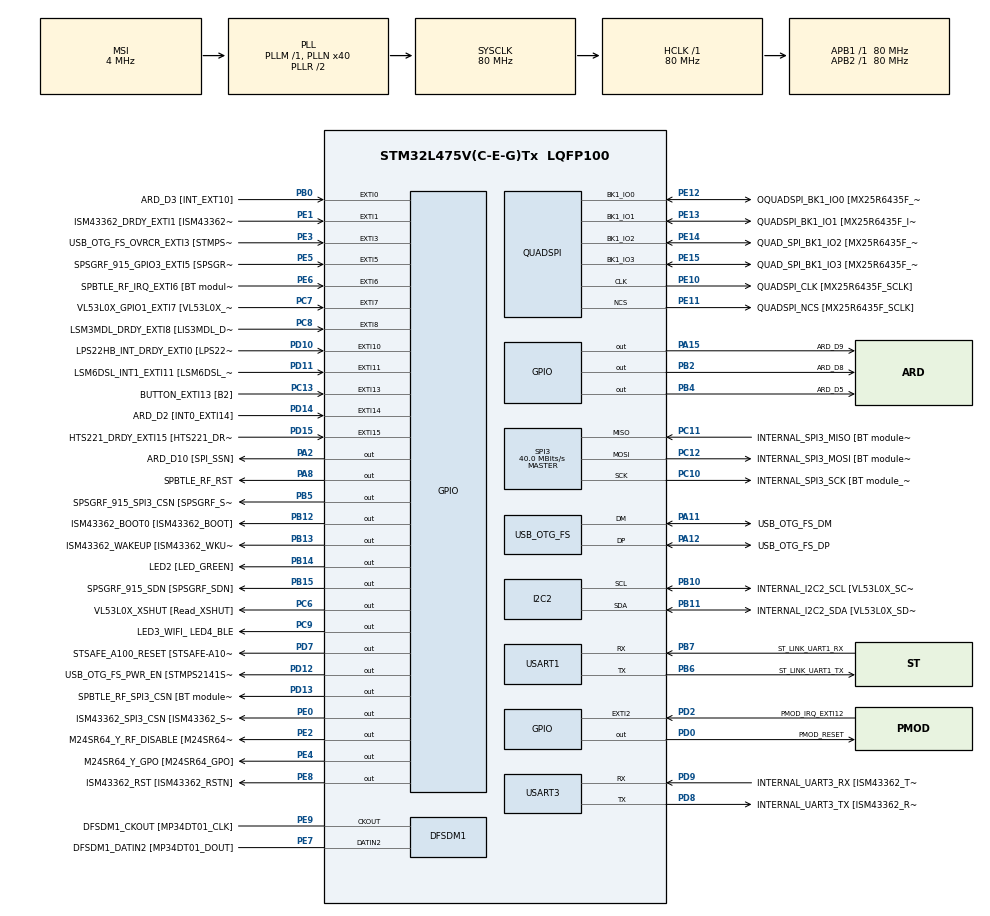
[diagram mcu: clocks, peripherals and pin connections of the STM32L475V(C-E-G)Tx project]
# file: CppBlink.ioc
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I2C2.Timing=0x10909CEC
Mcu.Family=STM32L4
Mcu.Name=STM32L475V(C-E-G)Tx
Mcu.Package=LQFP100
NVIC.EXTI15_10_IRQn=true\:0\:0\:false\:false\:true\:true\:true
NVIC.EXTI9_5_IRQn=true\:0\:0\:false\:false\:true\:true\:true
NVIC.PriorityGroup=NVIC_PRIORITYGROUP_4
NVIC.TIM2_IRQn=true\:0\:0\:false\:false\:true\:true\:true
PA0.GPIO_Label=ARD_D1 [UART4_TX]
PA0.Signal=UART4_TX
PA1.GPIO_Label=ARD_D0 [UART4_RX]
PA1.Signal=UART4_RX
PA10.GPIO_Label=USB_OTG_FS_ID
PA10.Signal=USB_OTG_FS_ID
PA11.GPIO_Label=USB_OTG_FS_DM
PA11.Mode=Device_Only
PA11.Signal=USB_OTG_FS_DM
PA12.GPIO_Label=USB_OTG_FS_DP
PA12.Mode=Device_Only
PA12.Signal=USB_OTG_FS_DP
PA13\ (JTMS-SWDIO).GPIO_Label=SYS_JTMS_SWDIO
PA13\ (JTMS-SWDIO).Mode=Serial_Wire
PA13\ (JTMS-SWDIO).Signal=SYS_JTMS-SWDIO
PA14\ (JTCK-SWCLK).GPIO_Label=SYS_JTCK_SWCLK
PA14\ (JTCK-SWCLK).Mode=Serial_Wire
PA14\ (JTCK-SWCLK).Signal=SYS_JTCK-SWCLK
PA15\ (JTDI).GPIO_Label=ARD_D9
PA15\ (JTDI).Signal=GPIO_Output
PA2.GPIO_Label=ARD_D10 [SPI_SSN]
PA2.Signal=GPIO_Output
PA3.GPIO_Label=ARD_D4
PA3.Signal=S_TIM2_CH4
PA4.GPIO_Label=ARD_D7
PA4.Signal=ADCx_IN9
PA5.GPIO_Label=ARD_D13 [SPI1_SCK]
PA5.Signal=SPI1_SCK
PA6.GPIO_Label=ARD_D12 [SPI1_MISO]
PA6.Signal=SPI1_MISO
PA7.GPIO_Label=ARD_D11 [SPI1_MOSI]
PA7.Signal=SPI1_MOSI
PA8.GPIO_Label=SPBTLE_RF_RST
PA8.Signal=GPIO_Output
PA9.GPIO_Label=USB_OTG_FS_VBUS [STMPS2141STR_OUT]
PA9.Signal=USB_OTG_FS_VBUS
PB0.GPIO_Label=ARD_D3 [INT_EXT10]
PB0.Signal=GPXTI0
PB1.GPIO_Label=ARD_D6 [ADC1_IN6]
PB1.Signal=ADCx_IN16
PB10.GPIO_Label=INTERNAL_I2C2_SCL [VL53L0X_SCL]
PB10.GPIO_Pu=GPIO_PULLUP
PB10.Mode=I2C
PB10.Signal=I2C2_SCL
PB11.GPIO_Label=INTERNAL_I2C2_SDA [VL53L0X_SDA]
PB11.GPIO_Pu=GPIO_PULLUP
PB11.Mode=I2C
PB11.Signal=I2C2_SDA
PB12.GPIO_Label=ISM43362_BOOT0 [ISM43362_BOOT]
PB12.Signal=GPIO_Output
PB13.GPIO_Label=ISM43362_WAKEUP [ISM43362_WKUP]
PB13.Signal=GPIO_Output
PB14.GPIO_Label=LED2 [LED_GREEN]
PB14.Signal=GPIO_Output
PB15.GPIO_Label=SPSGRF_915_SDN [SPSGRF_SDN]
PB15.Signal=GPIO_Output
PB2.GPIO_Label=ARD_D8
PB2.Signal=GPIO_Output
PB3\ (JTDO-TRACESWO).GPIO_Label=SYS_JTD0_SWO
PB3\ (JTDO-TRACESWO).Signal=SYS_JTDO-SWO
PB4\ (NJTRST).GPIO_Label=ARD_D5
PB4\ (NJTRST).Signal=GPIO_Output
PB5.GPIO_Label=SPSGRF_915_SPI3_CSN [SPSGRF_SPI_CS]
PB5.PinState=GPIO_PIN_SET
PB5.Signal=GPIO_Output
PB6.GPIO_Label=ST_LINK_UART1_TX
PB6.Mode=Asynchronous
PB6.Signal=USART1_TX
PB7.GPIO_Label=ST_LINK_UART1_RX
PB7.Mode=Asynchronous
PB7.Signal=USART1_RX
PB8.GPIO_Label=ARD_D15 [I2C1_SCL]
PB8.Signal=I2C1_SCL
PB9.GPIO_Label=ARD_D14 [I2C1_SDA]
PB9.Signal=I2C1_SDA
PC0.GPIO_Label=ARD_A5 [ADC]
PC0.Signal=ADCx_IN1
PC1.GPIO_Label=ARD_A4 [ADC]
PC1.Signal=ADCx_IN2
PC10.GPIO_Label=INTERNAL_SPI3_SCK [BT module_SPI_SCLK] [ISM43362_SCK]
PC10.Mode=Full_Duplex_Master
PC10.Signal=SPI3_SCK
PC11.GPIO_Label=INTERNAL_SPI3_MISO [BT module_SPI_MISO] [ISM43362_MISO]
PC11.Mode=Full_Duplex_Master
PC11.Signal=SPI3_MISO
PC12.GPIO_Label=INTERNAL_SPI3_MOSI [BT module_SPI_MOSI] [ISM43362_MOSI]
PC12.Mode=Full_Duplex_Master
PC12.Signal=SPI3_MOSI
PC13.GPIO_Label=BUTTON_EXTI13 [B2]
PC13.GPIO_ModeDefaultEXTI=GPIO_MODE_IT_FALLING
PC13.Signal=GPXTI13
PC14-OSC32_IN\ (PC14).Mode=LSE-External-Oscillator
PC14-OSC32_IN\ (PC14).Signal=RCC_OSC32_IN
PC15-OSC32_OUT\ (PC15).Mode=LSE-External-Oscillator
PC15-OSC32_OUT\ (PC15).Signal=RCC_OSC32_OUT
PC2.GPIO_Label=ARD_A3 [ADC]
PC2.Signal=ADCx_IN3
PC3.GPIO_Label=ARD_A2 [ADC]
PC3.Signal=ADCx_IN4
PC4.GPIO_Label=ARD_A1 [ADC]
PC4.Signal=ADCx_IN13
PC5.GPIO_Label=ARD_A0 [ADC]
PC5.Signal=ADCx_IN14
PC6.GPIO_Label=VL53L0X_XSHUT [Read_XSHUT]
PC6.Signal=GPIO_Output
PC7.GPIO_Label=VL53L0X_GPIO1_EXTI7 [VL53L0X_GPIO1]
PC7.Signal=GPXTI7
PC8.GPIO_Label=LSM3MDL_DRDY_EXTI8 [LIS3MDL_DRDY]
PC8.Signal=GPXTI8
PC9.GPIO_Label=LED3_WIFI_ LED4_BLE
PC9.Signal=GPIO_Output
PD0.GPIO_Label=PMOD_RESET
PD0.Signal=GPIO_Output
PD1.GPIO_Label=PMOD_SPI2_SCK
PD1.Signal=SPI2_SCK
PD10.GPIO_Label=LPS22HB_INT_DRDY_EXTI0 [LPS22HB_INT_DRDY] 
PD10.Signal=GPXTI10
PD11.GPIO_Label=LSM6DSL_INT1_EXTI11 [LSM6DSL_INT1]
PD11.Signal=GPXTI11
PD12.GPIO_Label=USB_OTG_FS_PWR_EN [STMPS2141STR_EN]
PD12.Signal=GPIO_Output
PD13.GPIO_Label=SPBTLE_RF_SPI3_CSN [BT module_SPI_CS]
PD13.PinState=GPIO_PIN_SET
PD13.Signal=GPIO_Output
PD14.GPIO_Label=ARD_D2 [INT0_EXTI14]
PD14.Signal=GPXTI14
PD15.GPIO_Label=HTS221_DRDY_EXTI15 [HTS221_DRDY]
PD15.Signal=GPXTI15
PD2.GPIO_Label=PMOD_IRQ_EXTI12
PD2.Signal=GPXTI2
PD3.GPIO_Label=PMOD_UART2_CTS
PD3.Signal=USART2_CTS
PD4.GPIO_Label=PMOD_UART2_RTS
PD4.Signal=USART2_RTS
PD5.GPIO_Label=PMOD_UART2_TX
PD5.Signal=USART2_TX
PD6.GPIO_Label=PMOD_UART2_RX
PD6.Signal=USART2_RX
PD7.GPIO_Label=STSAFE_A100_RESET [STSAFE-A100_RESET]
PD7.Signal=GPIO_Output
PD8.GPIO_Label=INTERNAL_UART3_TX [ISM43362_RX]
PD8.Mode=Asynchronous
PD8.Signal=USART3_TX
PD9.GPIO_Label=INTERNAL_UART3_RX [ISM43362_TX]
PD9.Mode=Asynchronous
PD9.Signal=USART3_RX
PE0.GPIO_Label=ISM43362_SPI3_CSN [ISM43362_SSN]
PE0.PinState=GPIO_PIN_SET
PE0.Signal=GPIO_Output
PE1.GPIO_Label=ISM43362_DRDY_EXTI1 [ISM43362_DATARDY]
PE1.Signal=GPXTI1
PE10.GPIO_Label=QUADSPI_CLK [MX25R6435F_SCLK]
PE10.Mode=Single Bank
PE10.Signal=QUADSPI_CLK
PE11.GPIO_Label=QUADSPI_NCS [MX25R6435F_SCLK]
PE11.Mode=Single Bank
PE11.Signal=QUADSPI_NCS
PE12.GPIO_Label=OQUADSPI_BK1_IO0 [MX25R6435F_IO0]
PE12.Mode=Single Bank
PE12.Signal=QUADSPI_BK1_IO0
PE13.GPIO_Label=QUADSPI_BK1_IO1 [MX25R6435F_IO1]
PE13.Mode=Single Bank
PE13.Signal=QUADSPI_BK1_IO1
PE14.GPIO_Label=QUAD_SPI_BK1_IO2 [MX25R6435F_IO2]
PE14.Mode=Single Bank
PE14.Signal=QUADSPI_BK1_IO2
PE15.GPIO_Label=QUAD_SPI_BK1_IO3 [MX25R6435F_IO3]
PE15.Mode=Single Bank
PE15.Signal=QUADSPI_BK1_IO3
PE2.GPIO_Label=M24SR64_Y_RF_DISABLE [M24SR64_RFDIS]
PE2.Signal=GPIO_Output
PE3.GPIO_Label=USB_OTG_FS_OVRCR_EXTI3 [STMPS2141STR_FAULT]
PE3.Signal=GPXTI3
PE4.GPIO_Label=M24SR64_Y_GPO [M24SR64_GPO]
PE4.Signal=GPIO_Output
PE5.GPIO_Label=SPSGRF_915_GPIO3_EXTI5 [SPSGRF_GPIO_3]
PE5.Signal=GPXTI5
PE6.GPIO_Label=SPBTLE_RF_IRQ_EXTI6 [BT module_SPI_IRQ]
PE6.Signal=GPXTI6
PE7.GPIO_Label=DFSDM1_DATIN2 [MP34DT01_DOUT]
PE7.Signal=S_DATAIN2DFSDM1
PE8.GPIO_Label=ISM43362_RST [ISM43362_RSTN]
PE8.Signal=GPIO_Output
PE9.GPIO_Label=DFSDM1_CKOUT [MP34DT01_CLK]
PE9.Signal=S_CKOUTDFSDM1
ProjectManager.HeapSize=0x200
ProjectManager.StackSize=0x400
ProjectManager.TargetToolchain=STM32CubeIDE
QUADSPI.ClockPrescaler=2
QUADSPI.FifoThreshold=4
QUADSPI.FlashSize=23
QUADSPI.SampleShifting=QSPI_SAMPLE_SHIFTING_HALFCYCLE
RCC.ADCFreq_Value=48000000
RCC.AHBFreq_Value=80000000
RCC.APB1Freq_Value=80000000
RCC.APB1TimFreq_Value=80000000
RCC.APB2Freq_Value=80000000
RCC.APB2TimFreq_Value=80000000
RCC.CortexFreq_Value=80000000
RCC.HCLKFreq_Value=80000000
RCC.HSE_VALUE=8000000
RCC.HSI_VALUE=16000000
RCC.MSI_VALUE=4000000
RCC.PLLN=40
RCC.PLLSAI1N=24
RCC.SYSCLKFreq_VALUE=80000000
RCC.SYSCLKSource=RCC_SYSCLKSOURCE_PLLCLK
RCC.USBFreq_Value=48000000
RCC.VCOOutputFreq_Value=160000000
SH.ADCx_IN1.0=ADC1_IN1
SH.ADCx_IN13.0=ADC1_IN13
SH.ADCx_IN14.0=ADC1_IN14
SH.ADCx_IN16.0=ADC1_IN16
SH.ADCx_IN2.0=ADC1_IN2
SH.ADCx_IN3.0=ADC1_IN3
SH.ADCx_IN4.0=ADC1_IN4
SH.ADCx_IN9.0=ADC1_IN9
SH.S_CKOUTDFSDM1.0=DFSDM1_CKOUT,CKOUT
SH.S_CKOUTDFSDM1.1=DFSDM1_CKOUT,PDM_SPI_Input_from_ch12_and_Internal_Clock
SH.S_DATAIN2DFSDM1.0=DFSDM1_DATIN2,PDM_SPI_Input_from_ch12_and_Internal_Clock
SH.S_TIM2_CH4.0=TIM2_CH4
SPI3.CalculateBaudRate=40.0 MBits/s
SPI3.Direction=SPI_DIRECTION_2LINES
SPI3.Mode=SPI_MODE_MASTER
SPI3.VirtualType=VM_MASTER
TIM2.Prescaler=79
USART1.VirtualMode-Asynchronous=VM_ASYNC
USART3.VirtualMode-Asynchronous=VM_ASYNC
USB_OTG_FS.VirtualMode=Device_Only
VP_TIM2_VS_ClockSourceINT.Mode=Internal
board=B-L475E-IOT01A1

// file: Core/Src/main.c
/* USER CODE BEGIN Header */
/**
  ******************************************************************************
  * @file           : main.c
  * @brief          : Main program body
  ******************************************************************************
  * @attention
  *
  * <h2><center>&copy; Copyright (c) 2022 STMicroelectronics.
  * All rights reserved.</center></h2>
  *
  * This software component is licensed by ST under BSD 3-Clause license,
  * the "License"; You may not use this file except in compliance with the
  * License. You may obtain a copy of the License at:
  *                        opensource.org/licenses/BSD-3-Clause
  *
  ******************************************************************************
  */
/* USER CODE END Header */
#include "main.h"

/* USER CODE BEGIN Includes */

#include "EventLoop.hpp"

/* USER CODE END Includes */

DFSDM_Channel_HandleTypeDef hdfsdm1_channel1;

I2C_HandleTypeDef hi2c2;

QSPI_HandleTypeDef hqspi;

SPI_HandleTypeDef hspi3;

TIM_HandleTypeDef htim2;

UART_HandleTypeDef huart1;
UART_HandleTypeDef huart3;

PCD_HandleTypeDef hpcd_USB_OTG_FS;

void SystemClock_Config(void);
static void MX_GPIO_Init(void);
static void MX_DFSDM1_Init(void);
static void MX_I2C2_Init(void);
static void MX_QUADSPI_Init(void);
static void MX_SPI3_Init(void);
static void MX_USART1_UART_Init(void);
static void MX_USART3_UART_Init(void);
static void MX_USB_OTG_FS_PCD_Init(void);
static void MX_TIM2_Init(void);
/* USER CODE BEGIN PFP */

uint32_t ReadHardwareTimer();
uint32_t ReadTimerOverflow();

/* USER CODE END PFP */

/* USER CODE BEGIN 0 */

volatile uint32_t timerOverflow  = 0;

/* USER CODE END 0 */

int main(void)
{

  /* MCU Configuration--------------------------------------------------------*/

  /* Reset of all peripherals, Initializes the Flash interface and the Systick. */
  HAL_Init();

  /* Configure the system clock */
  SystemClock_Config();

  /* Initialize all configured peripherals */
  MX_GPIO_Init();
  MX_DFSDM1_Init();
  MX_I2C2_Init();
  MX_QUADSPI_Init();
  MX_SPI3_Init();
  MX_USART1_UART_Init();
  MX_USART3_UART_Init();
  MX_USB_OTG_FS_PCD_Init();
  MX_TIM2_Init();
  /* USER CODE BEGIN 2 */

  HAL_TIM_Base_Start_IT(&htim2);
  InitializeInterface(ReadHardwareTimer, ReadTimerOverflow);

  /* USER CODE END 2 */

  /* Infinite loop */
  /* USER CODE BEGIN WHILE */

  EventLoopC();

  while (1)
  {
    /* USER CODE END WHILE */

  }
}

void SystemClock_Config(void)
{
  RCC_OscInitTypeDef RCC_OscInitStruct = {0};
  RCC_ClkInitTypeDef RCC_ClkInitStruct = {0};

  /** Configure the main internal regulator output voltage
  */
  if (HAL_PWREx_ControlVoltageScaling(PWR_REGULATOR_VOLTAGE_SCALE1) != HAL_OK)
  {
    Error_Handler();
  }
  /** Configure LSE Drive Capability
  */
  HAL_PWR_EnableBkUpAccess();
  __HAL_RCC_LSEDRIVE_CONFIG(RCC_LSEDRIVE_LOW);
  /** Initializes the RCC Oscillators according to the specified parameters
  * in the RCC_OscInitTypeDef structure.
  */
  RCC_OscInitStruct.OscillatorType = RCC_OSCILLATORTYPE_LSE|RCC_OSCILLATORTYPE_MSI;
  RCC_OscInitStruct.LSEState = RCC_LSE_ON;
  RCC_OscInitStruct.MSIState = RCC_MSI_ON;
  RCC_OscInitStruct.MSICalibrationValue = 0;
  RCC_OscInitStruct.MSIClockRange = RCC_MSIRANGE_6;
  RCC_OscInitStruct.PLL.PLLState = RCC_PLL_ON;
  RCC_OscInitStruct.PLL.PLLSource = RCC_PLLSOURCE_MSI;
  RCC_OscInitStruct.PLL.PLLM = 1;
  RCC_OscInitStruct.PLL.PLLN = 40;
  RCC_OscInitStruct.PLL.PLLP = RCC_PLLP_DIV7;
  RCC_OscInitStruct.PLL.PLLQ = RCC_PLLQ_DIV2;
  RCC_OscInitStruct.PLL.PLLR = RCC_PLLR_DIV2;
  if (HAL_RCC_OscConfig(&RCC_OscInitStruct) != HAL_OK)
  {
    Error_Handler();
  }
  /** Initializes the CPU, AHB and APB buses clocks
  */
  RCC_ClkInitStruct.ClockType = RCC_CLOCKTYPE_HCLK|RCC_CLOCKTYPE_SYSCLK
                              |RCC_CLOCKTYPE_PCLK1|RCC_CLOCKTYPE_PCLK2;
  RCC_ClkInitStruct.SYSCLKSource = RCC_SYSCLKSOURCE_PLLCLK;
  RCC_ClkInitStruct.AHBCLKDivider = RCC_SYSCLK_DIV1;
  RCC_ClkInitStruct.APB1CLKDivider = RCC_HCLK_DIV1;
  RCC_ClkInitStruct.APB2CLKDivider = RCC_HCLK_DIV1;

  if (HAL_RCC_ClockConfig(&RCC_ClkInitStruct, FLASH_LATENCY_4) != HAL_OK)
  {
    Error_Handler();
  }
  /** Enable MSI Auto calibration
  */
  HAL_RCCEx_EnableMSIPLLMode();
}

static void MX_DFSDM1_Init(void)
{

  hdfsdm1_channel1.Instance = DFSDM1_Channel1;
  hdfsdm1_channel1.Init.OutputClock.Activation = ENABLE;
  hdfsdm1_channel1.Init.OutputClock.Selection = DFSDM_CHANNEL_OUTPUT_CLOCK_SYSTEM;
  hdfsdm1_channel1.Init.OutputClock.Divider = 2;
  hdfsdm1_channel1.Init.Input.Multiplexer = DFSDM_CHANNEL_EXTERNAL_INPUTS;
  hdfsdm1_channel1.Init.Input.DataPacking = DFSDM_CHANNEL_STANDARD_MODE;
  hdfsdm1_channel1.Init.Input.Pins = DFSDM_CHANNEL_FOLLOWING_CHANNEL_PINS;
  hdfsdm1_channel1.Init.SerialInterface.Type = DFSDM_CHANNEL_SPI_RISING;
  hdfsdm1_channel1.Init.SerialInterface.SpiClock = DFSDM_CHANNEL_SPI_CLOCK_INTERNAL;
  hdfsdm1_channel1.Init.Awd.FilterOrder = DFSDM_CHANNEL_FASTSINC_ORDER;
  hdfsdm1_channel1.Init.Awd.Oversampling = 1;
  hdfsdm1_channel1.Init.Offset = 0;
  hdfsdm1_channel1.Init.RightBitShift = 0x00;
  if (HAL_DFSDM_ChannelInit(&hdfsdm1_channel1) != HAL_OK)
  {
    Error_Handler();
  }

}

static void MX_I2C2_Init(void)
{

  hi2c2.Instance = I2C2;
  hi2c2.Init.Timing = 0x10909CEC;
  hi2c2.Init.OwnAddress1 = 0;
  hi2c2.Init.AddressingMode = I2C_ADDRESSINGMODE_7BIT;
  hi2c2.Init.DualAddressMode = I2C_DUALADDRESS_DISABLE;
  hi2c2.Init.OwnAddress2 = 0;
  hi2c2.Init.OwnAddress2Masks = I2C_OA2_NOMASK;
  hi2c2.Init.GeneralCallMode = I2C_GENERALCALL_DISABLE;
  hi2c2.Init.NoStretchMode = I2C_NOSTRETCH_DISABLE;
  if (HAL_I2C_Init(&hi2c2) != HAL_OK)
  {
    Error_Handler();
  }
  /** Configure Analogue filter
  */
  if (HAL_I2CEx_ConfigAnalogFilter(&hi2c2, I2C_ANALOGFILTER_ENABLE) != HAL_OK)
  {
    Error_Handler();
  }
  /** Configure Digital filter
  */
  if (HAL_I2CEx_ConfigDigitalFilter(&hi2c2, 0) != HAL_OK)
  {
    Error_Handler();
  }

}

static void MX_QUADSPI_Init(void)
{

  /* QUADSPI parameter configuration*/
  hqspi.Instance = QUADSPI;
  hqspi.Init.ClockPrescaler = 2;
  hqspi.Init.FifoThreshold = 4;
  hqspi.Init.SampleShifting = QSPI_SAMPLE_SHIFTING_HALFCYCLE;
  hqspi.Init.FlashSize = 23;
  hqspi.Init.ChipSelectHighTime = QSPI_CS_HIGH_TIME_1_CYCLE;
  hqspi.Init.ClockMode = QSPI_CLOCK_MODE_0;
  if (HAL_QSPI_Init(&hqspi) != HAL_OK)
  {
    Error_Handler();
  }

}

static void MX_SPI3_Init(void)
{

  /* SPI3 parameter configuration*/
  hspi3.Instance = SPI3;
  hspi3.Init.Mode = SPI_MODE_MASTER;
  hspi3.Init.Direction = SPI_DIRECTION_2LINES;
  hspi3.Init.DataSize = SPI_DATASIZE_4BIT;
  hspi3.Init.CLKPolarity = SPI_POLARITY_LOW;
  hspi3.Init.CLKPhase = SPI_PHASE_1EDGE;
  hspi3.Init.NSS = SPI_NSS_SOFT;
  hspi3.Init.BaudRatePrescaler = SPI_BAUDRATEPRESCALER_2;
  hspi3.Init.FirstBit = SPI_FIRSTBIT_MSB;
  hspi3.Init.TIMode = SPI_TIMODE_DISABLE;
  hspi3.Init.CRCCalculation = SPI_CRCCALCULATION_DISABLE;
  hspi3.Init.CRCPolynomial = 7;
  hspi3.Init.CRCLength = SPI_CRC_LENGTH_DATASIZE;
  hspi3.Init.NSSPMode = SPI_NSS_PULSE_ENABLE;
  if (HAL_SPI_Init(&hspi3) != HAL_OK)
  {
    Error_Handler();
  }

}

static void MX_TIM2_Init(void)
{

  TIM_ClockConfigTypeDef sClockSourceConfig = {0};
  TIM_MasterConfigTypeDef sMasterConfig = {0};

  htim2.Instance = TIM2;
  htim2.Init.Prescaler = 79;
  htim2.Init.CounterMode = TIM_COUNTERMODE_UP;
  htim2.Init.Period = 4294967295;
  htim2.Init.ClockDivision = TIM_CLOCKDIVISION_DIV1;
  htim2.Init.AutoReloadPreload = TIM_AUTORELOAD_PRELOAD_DISABLE;
  if (HAL_TIM_Base_Init(&htim2) != HAL_OK)
  {
    Error_Handler();
  }
  sClockSourceConfig.ClockSource = TIM_CLOCKSOURCE_INTERNAL;
  if (HAL_TIM_ConfigClockSource(&htim2, &sClockSourceConfig) != HAL_OK)
  {
    Error_Handler();
  }
  sMasterConfig.MasterOutputTrigger = TIM_TRGO_RESET;
  sMasterConfig.MasterSlaveMode = TIM_MASTERSLAVEMODE_DISABLE;
  if (HAL_TIMEx_MasterConfigSynchronization(&htim2, &sMasterConfig) != HAL_OK)
  {
    Error_Handler();
  }

}

static void MX_USART1_UART_Init(void)
{

  huart1.Instance = USART1;
  huart1.Init.BaudRate = 115200;
  huart1.Init.WordLength = UART_WORDLENGTH_8B;
  huart1.Init.StopBits = UART_STOPBITS_1;
  huart1.Init.Parity = UART_PARITY_NONE;
  huart1.Init.Mode = UART_MODE_TX_RX;
  huart1.Init.HwFlowCtl = UART_HWCONTROL_NONE;
  huart1.Init.OverSampling = UART_OVERSAMPLING_16;
  huart1.Init.OneBitSampling = UART_ONE_BIT_SAMPLE_DISABLE;
  huart1.AdvancedInit.AdvFeatureInit = UART_ADVFEATURE_NO_INIT;
  if (HAL_UART_Init(&huart1) != HAL_OK)
  {
    Error_Handler();
  }

}

static void MX_USART3_UART_Init(void)
{

  huart3.Instance = USART3;
  huart3.Init.BaudRate = 115200;
  huart3.Init.WordLength = UART_WORDLENGTH_8B;
  huart3.Init.StopBits = UART_STOPBITS_1;
  huart3.Init.Parity = UART_PARITY_NONE;
  huart3.Init.Mode = UART_MODE_TX_RX;
  huart3.Init.HwFlowCtl = UART_HWCONTROL_NONE;
  huart3.Init.OverSampling = UART_OVERSAMPLING_16;
  huart3.Init.OneBitSampling = UART_ONE_BIT_SAMPLE_DISABLE;
  huart3.AdvancedInit.AdvFeatureInit = UART_ADVFEATURE_NO_INIT;
  if (HAL_UART_Init(&huart3) != HAL_OK)
  {
    Error_Handler();
  }

}

static void MX_USB_OTG_FS_PCD_Init(void)
{

  hpcd_USB_OTG_FS.Instance = USB_OTG_FS;
  hpcd_USB_OTG_FS.Init.dev_endpoints = 6;
  hpcd_USB_OTG_FS.Init.speed = PCD_SPEED_FULL;
  hpcd_USB_OTG_FS.Init.phy_itface = PCD_PHY_EMBEDDED;
  hpcd_USB_OTG_FS.Init.Sof_enable = DISABLE;
  hpcd_USB_OTG_FS.Init.low_power_enable = DISABLE;
  hpcd_USB_OTG_FS.Init.lpm_enable = DISABLE;
  hpcd_USB_OTG_FS.Init.battery_charging_enable = DISABLE;
  hpcd_USB_OTG_FS.Init.use_dedicated_ep1 = DISABLE;
  hpcd_USB_OTG_FS.Init.vbus_sensing_enable = DISABLE;
  if (HAL_PCD_Init(&hpcd_USB_OTG_FS) != HAL_OK)
  {
    Error_Handler();
  }

}

static void MX_GPIO_Init(void)
{
  GPIO_InitTypeDef GPIO_InitStruct = {0};

  /* GPIO Ports Clock Enable */
  __HAL_RCC_GPIOE_CLK_ENABLE();
  __HAL_RCC_GPIOC_CLK_ENABLE();
  __HAL_RCC_GPIOA_CLK_ENABLE();
  __HAL_RCC_GPIOB_CLK_ENABLE();
  __HAL_RCC_GPIOD_CLK_ENABLE();

  /*Configure GPIO pin Output Level */
  HAL_GPIO_WritePin(GPIOE, M24SR64_Y_RF_DISABLE_Pin|M24SR64_Y_GPO_Pin|ISM43362_RST_Pin, GPIO_PIN_RESET);

  /*Configure GPIO pin Output Level */
  HAL_GPIO_WritePin(GPIOA, ARD_D10_Pin|SPBTLE_RF_RST_Pin|ARD_D9_Pin, GPIO_PIN_RESET);

  /*Configure GPIO pin Output Level */
  HAL_GPIO_WritePin(GPIOB, ARD_D8_Pin|ISM43362_BOOT0_Pin|ISM43362_WAKEUP_Pin|LED2_Pin
                          |SPSGRF_915_SDN_Pin|ARD_D5_Pin, GPIO_PIN_RESET);

  /*Configure GPIO pin Output Level */
  HAL_GPIO_WritePin(GPIOD, USB_OTG_FS_PWR_EN_Pin|PMOD_RESET_Pin|STSAFE_A100_RESET_Pin, GPIO_PIN_RESET);

  /*Configure GPIO pin Output Level */
  HAL_GPIO_WritePin(SPBTLE_RF_SPI3_CSN_GPIO_Port, SPBTLE_RF_SPI3_CSN_Pin, GPIO_PIN_SET);

  /*Configure GPIO pin Output Level */
  HAL_GPIO_WritePin(GPIOC, VL53L0X_XSHUT_Pin|LED3_WIFI__LED4_BLE_Pin, GPIO_PIN_RESET);

  /*Configure GPIO pin Output Level */
  HAL_GPIO_WritePin(SPSGRF_915_SPI3_CSN_GPIO_Port, SPSGRF_915_SPI3_CSN_Pin, GPIO_PIN_SET);

  /*Configure GPIO pin Output Level */
  HAL_GPIO_WritePin(ISM43362_SPI3_CSN_GPIO_Port, ISM43362_SPI3_CSN_Pin, GPIO_PIN_SET);

  /*Configure GPIO pins : M24SR64_Y_RF_DISABLE_Pin M24SR64_Y_GPO_Pin ISM43362_RST_Pin ISM43362_SPI3_CSN_Pin */
  GPIO_InitStruct.Pin = M24SR64_Y_RF_DISABLE_Pin|M24SR64_Y_GPO_Pin|ISM43362_RST_Pin|ISM43362_SPI3_CSN_Pin;
  GPIO_InitStruct.Mode = GPIO_MODE_OUTPUT_PP;
  GPIO_InitStruct.Pull = GPIO_NOPULL;
  GPIO_InitStruct.Speed = GPIO_SPEED_FREQ_LOW;
  HAL_GPIO_Init(GPIOE, &GPIO_InitStruct);

  /*Configure GPIO pins : USB_OTG_FS_OVRCR_EXTI3_Pin SPSGRF_915_GPIO3_EXTI5_Pin SPBTLE_RF_IRQ_EXTI6_Pin ISM43362_DRDY_EXTI1_Pin */
  GPIO_InitStruct.Pin = USB_OTG_FS_OVRCR_EXTI3_Pin|SPSGRF_915_GPIO3_EXTI5_Pin|SPBTLE_RF_IRQ_EXTI6_Pin|ISM43362_DRDY_EXTI1_Pin;
  GPIO_InitStruct.Mode = GPIO_MODE_IT_RISING;
  GPIO_InitStruct.Pull = GPIO_NOPULL;
  HAL_GPIO_Init(GPIOE, &GPIO_InitStruct);

  /*Configure GPIO pin : BUTTON_EXTI13_Pin */
  GPIO_InitStruct.Pin = BUTTON_EXTI13_Pin;
  GPIO_InitStruct.Mode = GPIO_MODE_IT_FALLING;
  GPIO_InitStruct.Pull = GPIO_NOPULL;
  HAL_GPIO_Init(BUTTON_EXTI13_GPIO_Port, &GPIO_InitStruct);

  /*Configure GPIO pins : ARD_A5_Pin ARD_A4_Pin ARD_A3_Pin ARD_A2_Pin
                           ARD_A1_Pin ARD_A0_Pin */
  GPIO_InitStruct.Pin = ARD_A5_Pin|ARD_A4_Pin|ARD_A3_Pin|ARD_A2_Pin
                          |ARD_A1_Pin|ARD_A0_Pin;
  GPIO_InitStruct.Mode = GPIO_MODE_ANALOG_ADC_CONTROL;
  GPIO_InitStruct.Pull = GPIO_NOPULL;
  HAL_GPIO_Init(GPIOC, &GPIO_InitStruct);

  /*Configure GPIO pins : ARD_D1_Pin ARD_D0_Pin */
  GPIO_InitStruct.Pin = ARD_D1_Pin|ARD_D0_Pin;
  GPIO_InitStruct.Mode = GPIO_MODE_AF_PP;
  GPIO_InitStruct.Pull = GPIO_NOPULL;
  GPIO_InitStruct.Speed = GPIO_SPEED_FREQ_VERY_HIGH;
  GPIO_InitStruct.Alternate = GPIO_AF8_UART4;
  HAL_GPIO_Init(GPIOA, &GPIO_InitStruct);

  /*Configure GPIO pins : ARD_D10_Pin SPBTLE_RF_RST_Pin ARD_D9_Pin */
  GPIO_InitStruct.Pin = ARD_D10_Pin|SPBTLE_RF_RST_Pin|ARD_D9_Pin;
  GPIO_InitStruct.Mode = GPIO_MODE_OUTPUT_PP;
  GPIO_InitStruct.Pull = GPIO_NOPULL;
  GPIO_InitStruct.Speed = GPIO_SPEED_FREQ_LOW;
  HAL_GPIO_Init(GPIOA, &GPIO_InitStruct);

  /*Configure GPIO pin : ARD_D7_Pin */
  GPIO_InitStruct.Pin = ARD_D7_Pin;
  GPIO_InitStruct.Mode = GPIO_MODE_ANALOG_ADC_CONTROL;
  GPIO_InitStruct.Pull = GPIO_NOPULL;
  HAL_GPIO_Init(ARD_D7_GPIO_Port, &GPIO_InitStruct);

  /*Configure GPIO pins : ARD_D13_Pin ARD_D12_Pin ARD_D11_Pin */
  GPIO_InitStruct.Pin = ARD_D13_Pin|ARD_D12_Pin|ARD_D11_Pin;
  GPIO_InitStruct.Mode = GPIO_MODE_AF_PP;
  GPIO_InitStruct.Pull = GPIO_NOPULL;
  GPIO_InitStruct.Speed = GPIO_SPEED_FREQ_VERY_HIGH;
  GPIO_InitStruct.Alternate = GPIO_AF5_SPI1;
  HAL_GPIO_Init(GPIOA, &GPIO_InitStruct);

  /*Configure GPIO pin : ARD_D3_Pin */
  GPIO_InitStruct.Pin = ARD_D3_Pin;
  GPIO_InitStruct.Mode = GPIO_MODE_IT_RISING;
  GPIO_InitStruct.Pull = GPIO_NOPULL;
  HAL_GPIO_Init(ARD_D3_GPIO_Port, &GPIO_InitStruct);

  /*Configure GPIO pin : ARD_D6_Pin */
  GPIO_InitStruct.Pin = ARD_D6_Pin;
  GPIO_InitStruct.Mode = GPIO_MODE_ANALOG_ADC_CONTROL;
  GPIO_InitStruct.Pull = GPIO_NOPULL;
  HAL_GPIO_Init(ARD_D6_GPIO_Port, &GPIO_InitStruct);

  /*Configure GPIO pins : ARD_D8_Pin ISM43362_BOOT0_Pin ISM43362_WAKEUP_Pin LED2_Pin
                           SPSGRF_915_SDN_Pin ARD_D5_Pin SPSGRF_915_SPI3_CSN_Pin */
  GPIO_InitStruct.Pin = ARD_D8_Pin|ISM43362_BOOT0_Pin|ISM43362_WAKEUP_Pin|LED2_Pin
                          |SPSGRF_915_SDN_Pin|ARD_D5_Pin|SPSGRF_915_SPI3_CSN_Pin;
  GPIO_InitStruct.Mode = GPIO_MODE_OUTPUT_PP;
  GPIO_InitStruct.Pull = GPIO_NOPULL;
  GPIO_InitStruct.Speed = GPIO_SPEED_FREQ_LOW;
  HAL_GPIO_Init(GPIOB, &GPIO_InitStruct);

  /*Configure GPIO pins : LPS22HB_INT_DRDY_EXTI0_Pin LSM6DSL_INT1_EXTI11_Pin ARD_D2_Pin HTS221_DRDY_EXTI15_Pin
                           PMOD_IRQ_EXTI12_Pin */
  GPIO_InitStruct.Pin = LPS22HB_INT_DRDY_EXTI0_Pin|LSM6DSL_INT1_EXTI11_Pin|ARD_D2_Pin|HTS221_DRDY_EXTI15_Pin
                          |PMOD_IRQ_EXTI12_Pin;
  GPIO_InitStruct.Mode = GPIO_MODE_IT_RISING;
  GPIO_InitStruct.Pull = GPIO_NOPULL;
  HAL_GPIO_Init(GPIOD, &GPIO_InitStruct);

  /*Configure GPIO pins : USB_OTG_FS_PWR_EN_Pin SPBTLE_RF_SPI3_CSN_Pin PMOD_RESET_Pin STSAFE_A100_RESET_Pin */
  GPIO_InitStruct.Pin = USB_OTG_FS_PWR_EN_Pin|SPBTLE_RF_SPI3_CSN_Pin|PMOD_RESET_Pin|STSAFE_A100_RESET_Pin;
  GPIO_InitStruct.Mode = GPIO_MODE_OUTPUT_PP;
  GPIO_InitStruct.Pull = GPIO_NOPULL;
  GPIO_InitStruct.Speed = GPIO_SPEED_FREQ_LOW;
  HAL_GPIO_Init(GPIOD, &GPIO_InitStruct);

  /*Configure GPIO pins : VL53L0X_XSHUT_Pin LED3_WIFI__LED4_BLE_Pin */
  GPIO_InitStruct.Pin = VL53L0X_XSHUT_Pin|LED3_WIFI__LED4_BLE_Pin;
  GPIO_InitStruct.Mode = GPIO_MODE_OUTPUT_PP;
  GPIO_InitStruct.Pull = GPIO_NOPULL;
  GPIO_InitStruct.Speed = GPIO_SPEED_FREQ_LOW;
  HAL_GPIO_Init(GPIOC, &GPIO_InitStruct);

  /*Configure GPIO pins : VL53L0X_GPIO1_EXTI7_Pin LSM3MDL_DRDY_EXTI8_Pin */
  GPIO_InitStruct.Pin = VL53L0X_GPIO1_EXTI7_Pin|LSM3MDL_DRDY_EXTI8_Pin;
  GPIO_InitStruct.Mode = GPIO_MODE_IT_RISING;
  GPIO_InitStruct.Pull = GPIO_NOPULL;
  HAL_GPIO_Init(GPIOC, &GPIO_InitStruct);

  /*Configure GPIO pin : PMOD_SPI2_SCK_Pin */
  GPIO_InitStruct.Pin = PMOD_SPI2_SCK_Pin;
  GPIO_InitStruct.Mode = GPIO_MODE_AF_PP;
  GPIO_InitStruct.Pull = GPIO_NOPULL;
  GPIO_InitStruct.Speed = GPIO_SPEED_FREQ_VERY_HIGH;
  GPIO_InitStruct.Alternate = GPIO_AF5_SPI2;
  HAL_GPIO_Init(PMOD_SPI2_SCK_GPIO_Port, &GPIO_InitStruct);

  /*Configure GPIO pins : PMOD_UART2_CTS_Pin PMOD_UART2_RTS_Pin PMOD_UART2_TX_Pin PMOD_UART2_RX_Pin */
  GPIO_InitStruct.Pin = PMOD_UART2_CTS_Pin|PMOD_UART2_RTS_Pin|PMOD_UART2_TX_Pin|PMOD_UART2_RX_Pin;
  GPIO_InitStruct.Mode = GPIO_MODE_AF_PP;
  GPIO_InitStruct.Pull = GPIO_NOPULL;
  GPIO_InitStruct.Speed = GPIO_SPEED_FREQ_VERY_HIGH;
  GPIO_InitStruct.Alternate = GPIO_AF7_USART2;
  HAL_GPIO_Init(GPIOD, &GPIO_InitStruct);

  /*Configure GPIO pins : ARD_D15_Pin ARD_D14_Pin */
  GPIO_InitStruct.Pin = ARD_D15_Pin|ARD_D14_Pin;
  GPIO_InitStruct.Mode = GPIO_MODE_AF_OD;
  GPIO_InitStruct.Pull = GPIO_NOPULL;
  GPIO_InitStruct.Speed = GPIO_SPEED_FREQ_VERY_HIGH;
  GPIO_InitStruct.Alternate = GPIO_AF4_I2C1;
  HAL_GPIO_Init(GPIOB, &GPIO_InitStruct);

  /* EXTI interrupt init*/
  HAL_NVIC_SetPriority(EXTI9_5_IRQn, 0, 0);
  HAL_NVIC_EnableIRQ(EXTI9_5_IRQn);

  HAL_NVIC_SetPriority(EXTI15_10_IRQn, 0, 0);
  HAL_NVIC_EnableIRQ(EXTI15_10_IRQn);

}

/* USER CODE BEGIN 4 */

uint32_t ReadHardwareTimer()
{
	uint32_t count = htim2.Instance->CNT;
	return count;
}

uint32_t ReadTimerOverflow()
{
	return timerOverflow;
}

// Callback re-defined within main.c
void HAL_TIM_PeriodElapsedCallback(TIM_HandleTypeDef *htim)
{
  /* Prevent unused argument(s) compilation warning */
  UNUSED(htim);

  if(htim == &htim2)
  {
	  timerOverflow++;
  }
}

/* USER CODE END 4 */

void Error_Handler(void)
{
  __disable_irq();
  while (1)
  {
  }
}

/************************ (C) COPYRIGHT STMicroelectronics *****END OF FILE****/
